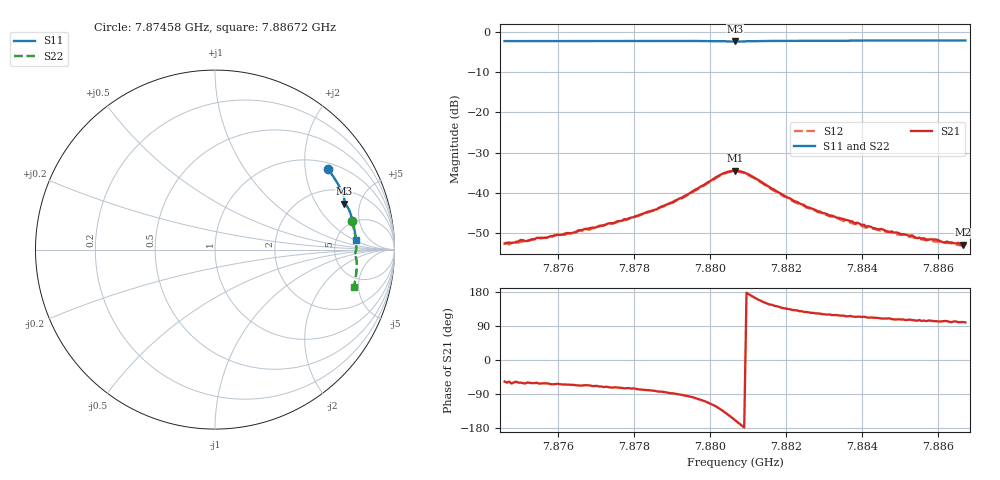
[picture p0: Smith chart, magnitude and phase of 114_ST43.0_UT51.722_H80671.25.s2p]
#  HZ  S  DB  R  50.00
! Rohde & Schwarz Vector Network Analyzer
! Rohde-Schwarz,ZNB20-2Port,1311601062101988,3.16
! Created: UTC 1/12/2023, 6:37:43 PM
! freq[Hz]  db:S11  ang:S11  db:S21  ang:S21  db:S12  ang:S12  db:S22  ang:S22
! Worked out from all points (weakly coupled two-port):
!   201 points, 7.87458 GHz to 7.88672 GHz, reference 50 ohm
!   highest |S21| = -34.52 dB at 7.88065 GHz (marker M1); lowest = -53.0 dB at 7.88665 GHz (marker M2)
!   lowest |S11| = -2.3 dB at 7.88065 GHz (marker M3), VSWR 7.46, Z = 144 + j177 ohm
!   |S11| at or under -10 dB: nowhere
!   |S22| runs from -2.2 to -1.9 dB; largest |S21 - S12| = 0.0012
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7.874585e9  -2.24 35.6  -52.69 -56.8  -52.68 -60.5  -2.17 11.6
7.874706e9  -2.24 35.3  -52.41 -57.0  -52.92 -61.6  -2.16 11.3
7.875312e9  -2.23 33.6  -51.68 -61.0  -51.55 -65.0  -2.15 9.9
7.875798e9  -2.22 32.3  -50.83 -63.8  -51.28 -64.8  -2.13 8.7
7.87604e9  -2.22 31.7  -50.56 -63.8  -50.36 -66.4  -2.12 8.2
7.876647e9  -2.21 30.0  -49.23 -67.2  -49.58 -70.7  -2.10 6.7
7.877799e9  -2.20 26.8  -46.65 -74.3  -46.73 -79.0  -2.09 4.0
7.878648e9  -2.19 24.5  -43.78 -83.4  -43.82 -86.8  -2.07 2.0
7.879255e9  -2.20 22.7  -41.22 -92.0  -41.40 -95.8  -2.08 0.5
7.880286e9  -2.30 20.0  -35.45 -131.2  -35.65 -134.4  -2.18 -1.8
7.88065e9  -2.34 19.6  -34.52 -158.7  -34.72 -162.2  -2.22 -2.1
7.880953e9  -2.31 19.3  -35.24 177.6  -35.39 174.1  -2.19 -2.2
7.881924e9  -2.18 16.9  -40.61 136.7  -40.88 133.6  -2.04 -4.2
7.882712e9  -2.14 14.6  -44.11 124.4  -44.32 121.0  -2.00 -6.1
7.884047e9  -2.12 11.0  -47.99 114.3  -48.60 109.2  -1.96 -9.1
7.884714e9  -2.10 9.3  -49.82 109.9  -49.75 105.4  -1.95 -10.6
7.88532e9  -2.10 7.7  -50.64 105.3  -51.04 102.8  -1.95 -11.9
7.885684e9  -2.09 6.7  -51.88 102.6  -51.56 100.7  -1.94 -12.7
7.885927e9  -2.09 6.1  -51.67 102.5  -52.22 99.1  -1.94 -13.3
7.886169e9  -2.09 5.5  -52.49 102.9  -52.37 99.2  -1.93 -13.8
7.886655e9  -2.08 4.2  -52.97 100.2  -53.20 95.5  -1.93 -14.8
7.886715e9  -2.09 4.1  -52.84 99.1  -53.33 97.7  -1.93 -15.0
